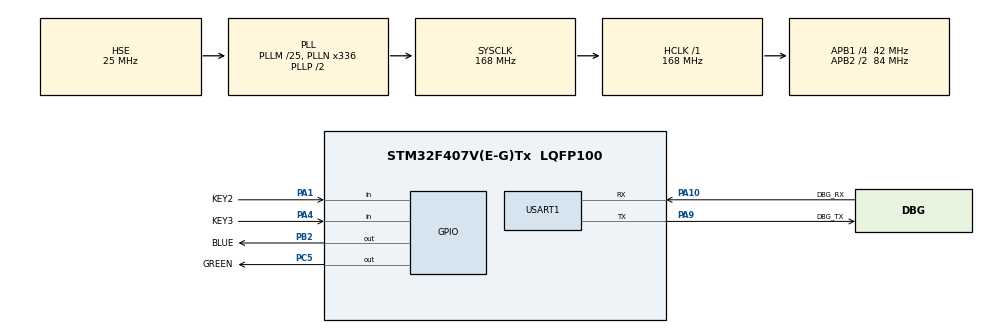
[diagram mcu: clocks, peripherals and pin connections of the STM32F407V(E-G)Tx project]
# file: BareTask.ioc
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Dma.Request0=USART1_TX
Dma.USART1_TX.0.Direction=DMA_MEMORY_TO_PERIPH
Dma.USART1_TX.0.FIFOMode=DMA_FIFOMODE_DISABLE
Dma.USART1_TX.0.Instance=DMA2_Stream7
Dma.USART1_TX.0.MemDataAlignment=DMA_MDATAALIGN_BYTE
Dma.USART1_TX.0.MemInc=DMA_MINC_ENABLE
Dma.USART1_TX.0.Mode=DMA_NORMAL
Dma.USART1_TX.0.PeriphDataAlignment=DMA_PDATAALIGN_BYTE
Dma.USART1_TX.0.PeriphInc=DMA_PINC_DISABLE
Dma.USART1_TX.0.Priority=DMA_PRIORITY_LOW
Mcu.Family=STM32F4
Mcu.Name=STM32F407V(E-G)Tx
Mcu.Package=LQFP100
NVIC.DMA2_Stream7_IRQn=true\:0\:0\:false\:false\:true\:false\:true\:true
NVIC.PriorityGroup=NVIC_PRIORITYGROUP_4
NVIC.USART1_IRQn=true\:0\:0\:false\:false\:true\:false\:true\:true
PA1.GPIO_Label=KEY2
PA1.GPIO_PuPd=GPIO_PULLUP
PA1.Signal=GPIO_Input
PA10.GPIO_Label=DBG_RX
PA10.Mode=Asynchronous
PA10.Signal=USART1_RX
PA13.Mode=Serial_Wire
PA13.Signal=SYS_JTMS-SWDIO
PA14.Mode=Serial_Wire
PA14.Signal=SYS_JTCK-SWCLK
PA4.GPIO_Label=KEY3
PA4.GPIO_PuPd=GPIO_PULLUP
PA4.Signal=GPIO_Input
PA9.GPIO_Label=DBG_TX
PA9.Mode=Asynchronous
PA9.Signal=USART1_TX
PB2.GPIO_Label=BLUE
PB2.Signal=GPIO_Output
PC14-OSC32_IN.Mode=LSE-External-Oscillator
PC14-OSC32_IN.Signal=RCC_OSC32_IN
PC15-OSC32_OUT.Mode=LSE-External-Oscillator
PC15-OSC32_OUT.Signal=RCC_OSC32_OUT
PC5.GPIO_Label=GREEN
PC5.Signal=GPIO_Output
PH0-OSC_IN.Mode=HSE-External-Oscillator
PH0-OSC_IN.Signal=RCC_OSC_IN
PH1-OSC_OUT.Mode=HSE-External-Oscillator
PH1-OSC_OUT.Signal=RCC_OSC_OUT
ProjectManager.HeapSize=0x200
ProjectManager.StackSize=0x400
ProjectManager.TargetToolchain=CMake
RCC.48MHZClocksFreq_Value=84000000
RCC.AHBFreq_Value=168000000
RCC.APB1CLKDivider=RCC_HCLK_DIV4
RCC.APB1Freq_Value=42000000
RCC.APB1TimFreq_Value=84000000
RCC.APB2CLKDivider=RCC_HCLK_DIV2
RCC.APB2Freq_Value=84000000
RCC.APB2TimFreq_Value=168000000
RCC.CortexFreq_Value=168000000
RCC.HCLKFreq_Value=168000000
RCC.HSE_VALUE=25000000
RCC.HSI_VALUE=16000000
RCC.PLLM=25
RCC.PLLN=336
RCC.PLLSourceVirtual=RCC_PLLSOURCE_HSE
RCC.SYSCLKFreq_VALUE=168000000
RCC.SYSCLKSource=RCC_SYSCLKSOURCE_PLLCLK
RCC.VCOOutputFreq_Value=336000000
USART1.VirtualMode=VM_ASYNC
board=custom

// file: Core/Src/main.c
/* USER CODE BEGIN Header */
/**
  ******************************************************************************
  * @file           : main.c
  * @brief          : Main program body
  ******************************************************************************
  * @attention
  *
  * Copyright (c) 2026 STMicroelectronics.
  * All rights reserved.
  *
  * This software is licensed under terms that can be found in the LICENSE file
  * in the root directory of this software component.
  * If no LICENSE file comes with this software, it is provided AS-IS.
  *
  ******************************************************************************
  */
/* USER CODE END Header */
#include "main.h"
#include "dma.h"
#include "usart.h"
#include "gpio.h"

/* USER CODE BEGIN Includes */
#include "log.h"
#include "bare_task.h"
#include "KEY.h"
/* USER CODE END Includes */

void SystemClock_Config(void);
/* USER CODE BEGIN PFP */
static void green_led_toggle(void* arg);
static void blue_led_toggle(void* arg);
static void debug_log_task(void* arg);
/* USER CODE END PFP */

/* USER CODE BEGIN 0 */
static void green_led_toggle(void* arg)
{
  HAL_GPIO_TogglePin(GREEN_GPIO_Port, GREEN_Pin);
}
static void blue_led_toggle(void* arg)
{
  HAL_GPIO_TogglePin(BLUE_GPIO_Port, BLUE_Pin);
}
static void debug_log_task(void* arg)
{
  LOG_DEBUG("HELLO WORLD");
}
/* USER CODE END 0 */

int main(void)
{

  /* MCU Configuration--------------------------------------------------------*/

  /* Reset of all peripherals, Initializes the Flash interface and the Systick. */
  HAL_Init();

  /* Configure the system clock */
  SystemClock_Config();

  /* Initialize all configured peripherals */
  MX_GPIO_Init();
  MX_DMA_Init();
  MX_USART1_UART_Init();
  /* USER CODE BEGIN 2 */
  log_init();
  bare_task_init();
  KEY_Init();

  bare_task_create(green_led_toggle, NULL, 100);
  bare_task_create(blue_led_toggle, NULL, 300);
  bare_task_create(debug_log_task, NULL, 1000);
  /* USER CODE END 2 */

  /* Infinite loop */
  /* USER CODE BEGIN WHILE */
  while (1)
  {
    bare_task_run();
    /* USER CODE END WHILE */

  }
}

void SystemClock_Config(void)
{
  RCC_OscInitTypeDef RCC_OscInitStruct = {0};
  RCC_ClkInitTypeDef RCC_ClkInitStruct = {0};

  /** Configure the main internal regulator output voltage
  */
  __HAL_RCC_PWR_CLK_ENABLE();
  __HAL_PWR_VOLTAGESCALING_CONFIG(PWR_REGULATOR_VOLTAGE_SCALE1);

  /** Initializes the RCC Oscillators according to the specified parameters
  * in the RCC_OscInitTypeDef structure.
  */
  RCC_OscInitStruct.OscillatorType = RCC_OSCILLATORTYPE_HSE;
  RCC_OscInitStruct.HSEState = RCC_HSE_ON;
  RCC_OscInitStruct.PLL.PLLState = RCC_PLL_ON;
  RCC_OscInitStruct.PLL.PLLSource = RCC_PLLSOURCE_HSE;
  RCC_OscInitStruct.PLL.PLLM = 25;
  RCC_OscInitStruct.PLL.PLLN = 336;
  RCC_OscInitStruct.PLL.PLLP = RCC_PLLP_DIV2;
  RCC_OscInitStruct.PLL.PLLQ = 4;
  if (HAL_RCC_OscConfig(&RCC_OscInitStruct) != HAL_OK)
  {
    Error_Handler();
  }

  /** Initializes the CPU, AHB and APB buses clocks
  */
  RCC_ClkInitStruct.ClockType = RCC_CLOCKTYPE_HCLK|RCC_CLOCKTYPE_SYSCLK
                              |RCC_CLOCKTYPE_PCLK1|RCC_CLOCKTYPE_PCLK2;
  RCC_ClkInitStruct.SYSCLKSource = RCC_SYSCLKSOURCE_PLLCLK;
  RCC_ClkInitStruct.AHBCLKDivider = RCC_SYSCLK_DIV1;
  RCC_ClkInitStruct.APB1CLKDivider = RCC_HCLK_DIV4;
  RCC_ClkInitStruct.APB2CLKDivider = RCC_HCLK_DIV2;

  if (HAL_RCC_ClockConfig(&RCC_ClkInitStruct, FLASH_LATENCY_5) != HAL_OK)
  {
    Error_Handler();
  }
}

void Error_Handler(void)
{
  __disable_irq();
  while (1)
  {
  }
}
